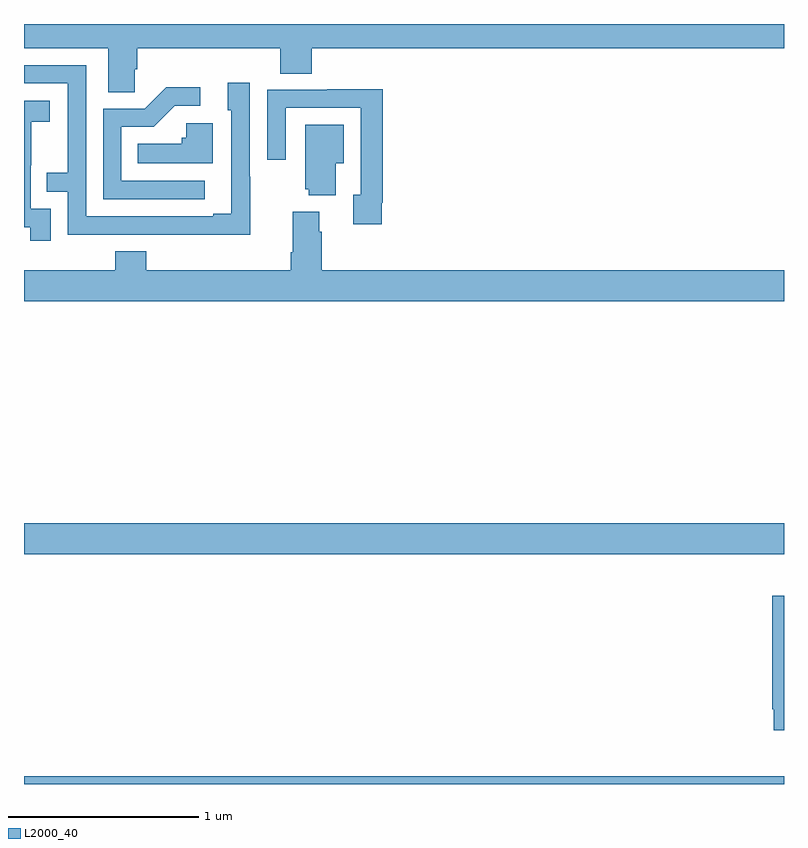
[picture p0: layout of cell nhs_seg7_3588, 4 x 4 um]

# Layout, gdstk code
import gdstk
lib = gdstk.Library(unit=1e-6, precision=1e-09)
def R(c, l, rs):  # rectangles x0, y0, x1, y1
    for r in rs: c.add(gdstk.rectangle(r[:2], r[2:], *l))
def P(c, l, *ps):  # polygons
    for p in ps: c.add(gdstk.Polygon(p, *l))
L2000_40 = (2000, 40)

nhs_seg7_3588 = lib.new_cell('nhs_seg7_3588')
R(nhs_seg7_3588, L2000_40, [(339,1074,343,1074.04), (339,1075.208,343,1075.372)])
P(nhs_seg7_3588, L2000_40, [(339.582,1077.763),(339.596,1077.763),(339.596,1077.872),(340.349,1077.872),(340.349,1077.739),(340.514,1077.739),(340.514,1077.872),(343,1077.872),(343,1078),(339,1078),(339,1077.872),(339.443,1077.872),(339.443,1077.64),(339.582,1077.64)],
  [(340.191,1077.197),(340.188,1077.197),(340.188,1077.691),(340.073,1077.691),(340.073,1077.546),(340.092,1077.546),(340.092,1077.001),(339.995,1077.001),(339.995,1076.988),(339.327,1076.988),(339.327,1077.783),(339,1077.783),(339,1077.687),(339.231,1077.687),(339.231,1077.218),(339.121,1077.218),(339.121,1077.117),(339.231,1077.117),(339.231,1076.892),(339.727,1076.892),(339.727,1076.891),(340.191,1076.891)],
  [(339.952,1077.174),(339.513,1077.174),(339.513,1077.459),(339.682,1077.459),(339.793,1077.57),(339.928,1077.57),(339.928,1077.668),(339.749,1077.668),(339.636,1077.555),(339.417,1077.555),(339.417,1077.078),(339.952,1077.078)],
  [(340.882,1077.058),(340.889,1077.058),(340.889,1077.656),(340.597,1077.656),(340.597,1077.654),(340.281,1077.654),(340.281,1077.285),(340.377,1077.285),(340.377,1077.558),(340.773,1077.558),(340.773,1077.102),(340.733,1077.102),(340.733,1076.946),(340.882,1076.946)],
  [(339.141,1077.027),(339.036,1077.027),(339.036,1077.257),(339.038,1077.257),(339.038,1077.485),(339.136,1077.485),(339.136,1077.595),(339,1077.595),(339,1076.929),(339.033,1076.929),(339.033,1076.859),(339.141,1076.859)],
  [(339.994,1077.478),(339.855,1077.478),(339.855,1077.402),(339.829,1077.402),(339.829,1077.37),(339.598,1077.37),(339.598,1077.266),(339.994,1077.266)],
  [(340.642,1077.266),(340.684,1077.266),(340.684,1077.469),(340.481,1077.469),(340.481,1077.129),(340.499,1077.129),(340.499,1077.098),(340.642,1077.098)],
  [(343,1076.704),(340.568,1076.704),(340.568,1076.906),(340.555,1076.906),(340.555,1077.013),(340.415,1077.013),(340.415,1076.8),(340.403,1076.8),(340.403,1076.704),(339.644,1076.704),(339.644,1076.803),(339.479,1076.803),(339.479,1076.704),(339,1076.704),(339,1076.54),(343,1076.54)],
  [(343,1074.992),(342.937,1074.992),(342.937,1074.394),(342.945,1074.394),(342.945,1074.282),(343,1074.282)])

lib.write_gds('nhs_seg7_3588.gds')
